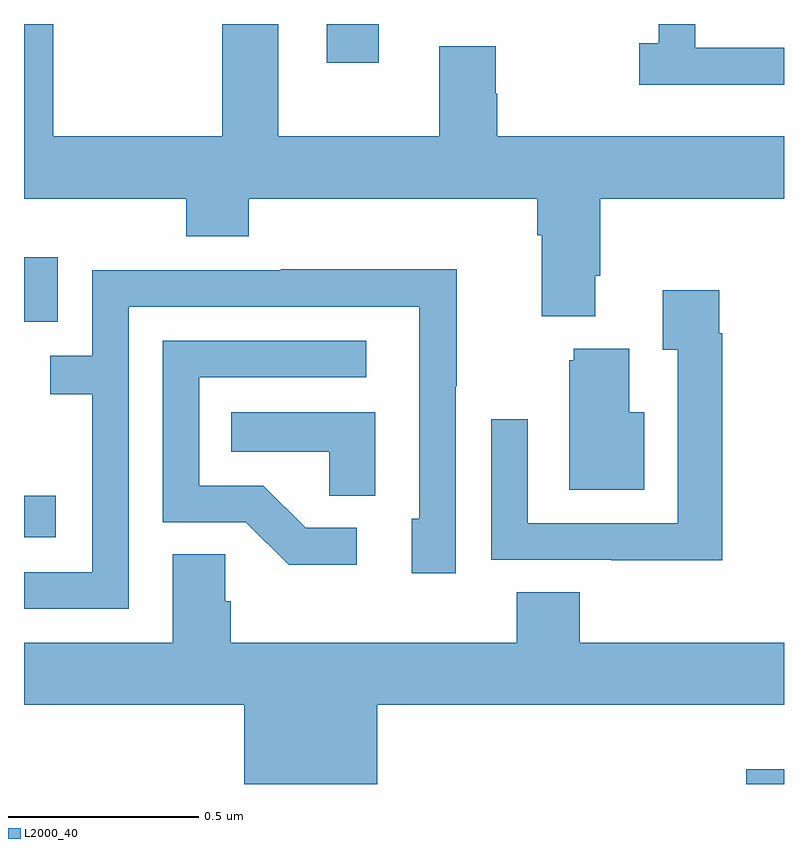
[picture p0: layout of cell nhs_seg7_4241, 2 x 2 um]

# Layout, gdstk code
import gdstk
lib = gdstk.Library(unit=1e-6, precision=1e-09)
def R(c, l, rs):  # rectangles x0, y0, x1, y1
    for r in rs: c.add(gdstk.rectangle(r[:2], r[2:], *l))
def P(c, l, *ps):  # polygons
    for p in ps: c.add(gdstk.Polygon(p, *l))
L2000_40 = (2000, 40)

nhs_seg7_4241 = lib.new_cell('nhs_seg7_4241')
R(nhs_seg7_4241, L2000_40, [(170.9,1075,171,1075.039), (169,1075.649,169.084,1075.759), (169,1076.217,169.089,1076.386), (169.797,1076.898,169.933,1077)])
P(nhs_seg7_4241, L2000_40, [(170.503,1076.338),(170.516,1076.338),(170.516,1076.54),(171,1076.54),(171,1076.704),(170.246,1076.704),(170.246,1076.817),(170.241,1076.817),(170.241,1076.942),(170.093,1076.942),(170.093,1076.704),(169.669,1076.704),(169.669,1077),(169.522,1077),(169.522,1076.704),(169.077,1076.704),(169.077,1077),(169,1077),(169,1076.54),(169.427,1076.54),(169.427,1076.441),(169.592,1076.441),(169.592,1076.54),(170.351,1076.54),(170.351,1076.444),(170.363,1076.444),(170.363,1076.231),(170.503,1076.231)],
  [(171,1076.937),(170.767,1076.937),(170.767,1077),(170.67,1077),(170.67,1076.95),(170.619,1076.95),(170.619,1076.84),(171,1076.84)],
  [(169.275,1076.256),(170.04,1076.256),(170.04,1075.698),(170.021,1075.698),(170.021,1075.554),(170.136,1075.554),(170.136,1076.047),(170.139,1076.047),(170.139,1076.354),(169.675,1076.354),(169.675,1076.352),(169.179,1076.352),(169.179,1076.127),(169.069,1076.127),(169.069,1076.026),(169.179,1076.026),(169.179,1075.557),(169,1075.557),(169,1075.461),(169.275,1075.461)],
  [(170.837,1076.186),(170.83,1076.186),(170.83,1076.299),(170.681,1076.299),(170.681,1076.143),(170.721,1076.143),(170.721,1075.686),(170.325,1075.686),(170.325,1075.96),(170.229,1075.96),(170.229,1075.59),(170.545,1075.59),(170.545,1075.589),(170.837,1075.589)],
  [(169.876,1075.674),(169.741,1075.674),(169.63,1075.785),(169.461,1075.785),(169.461,1076.07),(169.9,1076.07),(169.9,1076.166),(169.365,1076.166),(169.365,1075.689),(169.584,1075.689),(169.697,1075.577),(169.876,1075.577)],
  [(170.632,1075.978),(170.593,1075.978),(170.593,1076.146),(170.447,1076.146),(170.447,1076.115),(170.435,1076.115),(170.435,1075.775),(170.632,1075.775)],
  [(169.924,1075.978),(169.546,1075.978),(169.546,1075.874),(169.803,1075.874),(169.803,1075.759),(169.924,1075.759)],
  [(169.93,1075.208),(171,1075.208),(171,1075.372),(170.462,1075.372),(170.462,1075.505),(170.297,1075.505),(170.297,1075.372),(169.544,1075.372),(169.544,1075.481),(169.53,1075.481),(169.53,1075.604),(169.391,1075.604),(169.391,1075.372),(169,1075.372),(169,1075.208),(169.58,1075.208),(169.58,1075),(169.93,1075)])

lib.write_gds('nhs_seg7_4241.gds')
